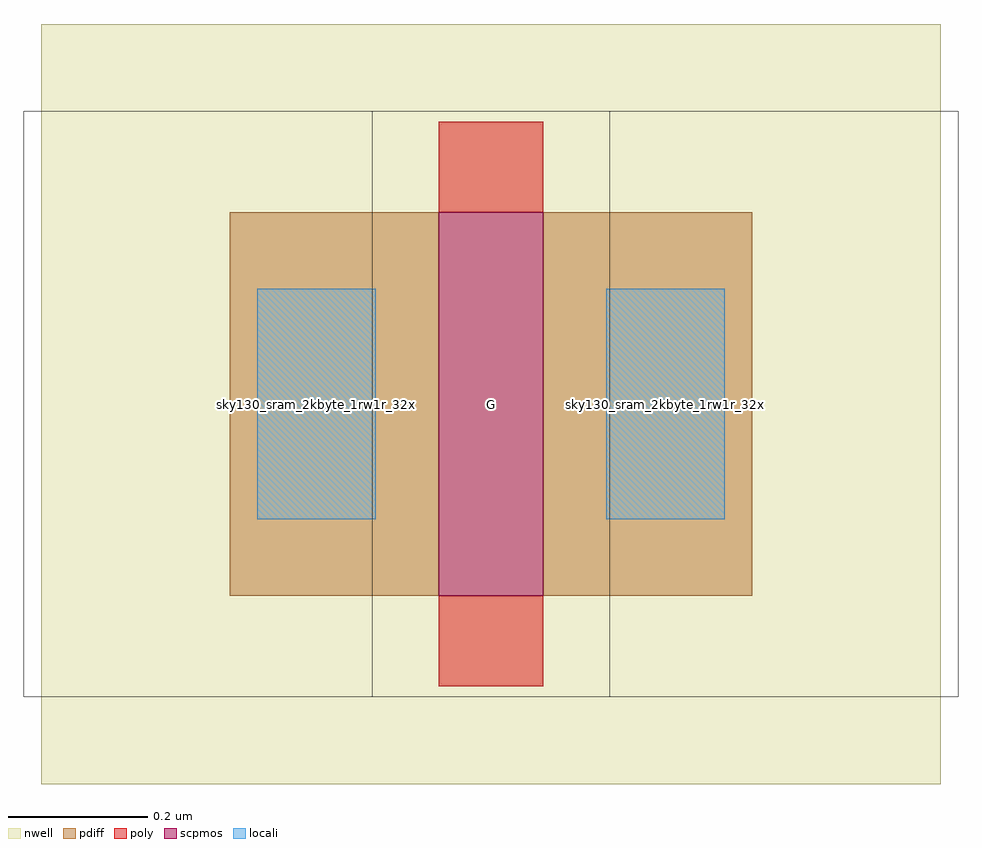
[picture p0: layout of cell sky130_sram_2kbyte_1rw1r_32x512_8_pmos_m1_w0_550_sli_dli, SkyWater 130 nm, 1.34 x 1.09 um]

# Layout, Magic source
magic
tech sky130A
magscale 1 2
<< nwell >>
rect -54 -54 204 164
<< scpmos >>
rect 60 0 90 110
<< pdiff >>
rect 0 0 60 110
rect 90 0 150 110
<< poly >>
rect 60 110 90 136
rect 60 -26 90 0
<< locali >>
rect 8 22 42 88
rect 108 22 142 88
use sky130_sram_2kbyte_1rw1r_32x512_8_contact_12  sky130_sram_2kbyte_1rw1r_32x512_8_contact_12_0
transform 1 0 100 0 1 22
box -59 -51 109 117
use sky130_sram_2kbyte_1rw1r_32x512_8_contact_12  sky130_sram_2kbyte_1rw1r_32x512_8_contact_12_1
transform 1 0 0 0 1 22
box -59 -51 109 117
<< labels >>
rlabel locali s 25 55 25 55 4 S
rlabel locali s 125 55 125 55 4 D
rlabel poly s 75 55 75 55 4 G
<< properties >>
string FIXED_BBOX -54 -54 204 164
<< end >>
